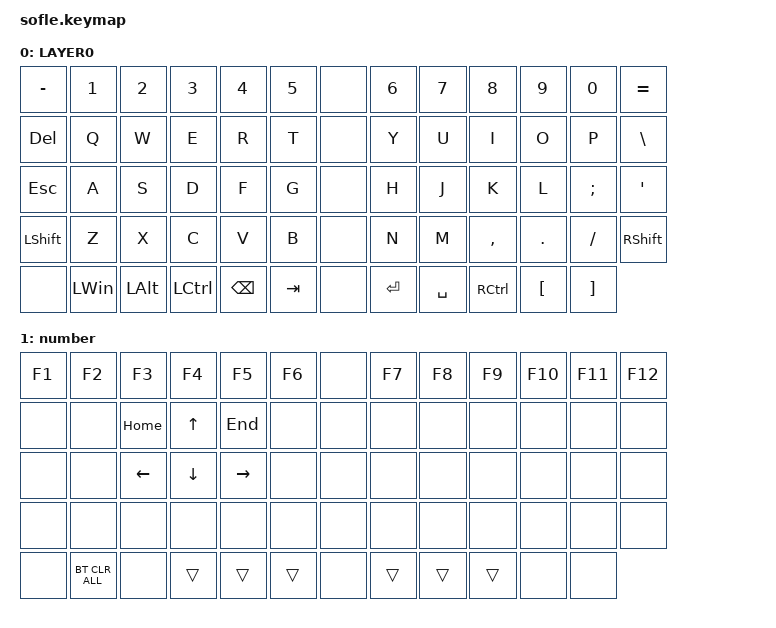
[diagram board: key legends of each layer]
#include <behaviors/mouse_keys.dtsi>
#include <dt-bindings/zmk/mouse.h>
#include <behaviors.dtsi>
#include <dt-bindings/zmk/bt.h>
#include <dt-bindings/zmk/keys.h>

#define ZMK_MOUSE_DEFAULT_MOVE_VAL 1200  // 600
#define ZMK_MOUSE_DEFAULT_SCRL_VAL 20    // 10
#define U_MS_U &mmv MOVE_UP
#define U_MS_D &mmv MOVE_DOWN
#define U_MS_L &mmv MOVE_LEFT
#define U_MS_R &mmv MOVE_RIGHT
#define ZMK_MOUSE_DEFAULT_MOVE_VAL 1200  //  600
#define ZMK_MOUSE_DEFAULT_SCRL_VAL 20    // 10

&sk { release-after-ms = <10000>; };

/ {
    behaviors {
        mmv {
            acceleration-exponent = <1>;      // 1
            time-to-max-speed-ms = <900>;    // 40
            delay-ms = <0>;                   // 0
        };

        msc {
            acceleration-exponent = <1>;      // 0
            time-to-max-speed-ms = <400>;      // 500
            delay-ms = <0>;                   //   10
        };
    };

    scroll_encoder: scroll_encoder {
        compatible = "zmk,behavior-sensor-rotate";
        #sensor-binding-cells = <0>;
        bindings = <&msc SCRL_DOWN>, <&msc SCRL_UP>;

        tap-ms = <30>;
    };

    dance_F11: dance_F11 {
        compatible = "zmk,behavior-tap-dance";
        label = "DANCE_F11";
        #binding-cells = <0>;
        tapping-term-ms = <1000>;
        bindings = <&kp F1>, <&kp F11>;
    };

    dance_F12: dance_F12 {
        compatible = "zmk,behavior-tap-dance";
        label = "DANCE_F12";
        #binding-cells = <0>;
        tapping-term-ms = <1000>;
        bindings = <&kp F2>, <&kp F12>;
    };

    combos {
        compatible = "zmk,combos";

        system_key {
            bindings = <&mo 1>;
            key-positions = <34 35 36>;
        };

        arrow {
            bindings = <&mo 1>;
            key-positions = <30 29 28>;
        };
    };

    keymap {
        compatible = "zmk,keymap";

        layer0 {
            bindings = <
&kp MINUS  &kp N1        &kp N2        &kp N3            &kp N4    &kp N5     &none  &kp N6     &kp N7     &kp N8             &kp N9            &kp N0             &kp EQUAL
&kp DEL    &kp Q         &kp W         &kp E             &kp R     &kp T      &none  &kp Y      &kp U      &kp I              &kp O             &kp P              &kp BSLH
&kp ESC    &kp A         &kp S         &kp D             &kp F     &kp G      &none  &kp H      &kp J      &kp K              &kp L             &kp SEMI           &kp SQT
&kp LSHFT  &kp Z         &kp X         &kp C             &kp V     &kp B      &none  &kp N      &kp M      &kp COMMA          &kp DOT           &kp FSLH           &kp RSHFT
&none      &kp LEFT_WIN  &kp LEFT_ALT  &kp LEFT_CONTROL  &kp BSPC  &kp TAB    &none  &kp ENTER  &kp SPACE  &kp RIGHT_CONTROL  &kp LEFT_BRACKET  &kp RIGHT_BRACKET
            >;

            display-name = "LAYER0";
        };

        number {
            bindings = <
&kp F1  &kp F2          &kp F3    &kp F4        &kp F5     &kp F6    &none  &kp F7  &kp F8  &kp F9  &kp F10  &kp F11  &kp F12
&none   &none           &kp HOME  &kp UP_ARROW  &kp END    &none     &none  &none   &none   &none   &none    &none    &none
&none   &none           &kp LEFT  &kp DOWN      &kp RIGHT  &none     &none  &none   &none   &none   &none    &none    &none
&none   &none           &none     &none         &none      &none     &none  &none   &none   &none   &none    &none    &none
&none   &bt BT_CLR_ALL  &none     &trans        &trans     &trans    &none  &trans  &trans  &trans  &none    &none
            >;
        };
    };
};
